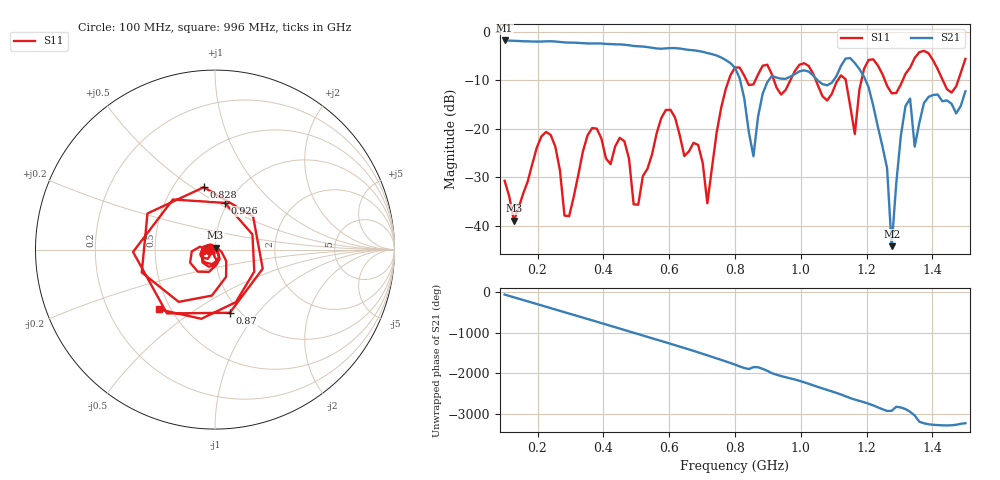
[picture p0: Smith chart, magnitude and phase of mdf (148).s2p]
! NanoVNA-App
! Date: 2025-09-25 15:39:34
! Start: 100MHz Stop: 1,5GHz Points: 101
! S-Parameter data: F S11 S21 S12 S22
# Hz S RI R 50
!  Frequency  S11_Real  S11_Imag  S21_Real  S21_Imag  S12_Real  S12_Imag  S22_Real  S22_Imag
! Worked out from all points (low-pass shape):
!   101 points, 100 MHz to 1.5 GHz, reference 50 ohm
!   highest |S21| = -1.80 dB at 100 MHz (marker M1); lowest = -44.3 dB at 1.276 GHz (marker M2)
!   |S21| within 3 dB of the highest: start of sweep to 738.9 MHz
!   lowest |S11| = -39.0 dB at 128 MHz (marker M3), VSWR 1.02, Z = 50.3 + j1.08 ohm
!   |S11| at or under -10 dB: start of sweep to 781 MHz; 918.3 MHz to 968.3 MHz (49.94 MHz wide, 5.29 % of centre); 1.045 GHz to 1.112 GHz (67.02 MHz wide, 6.21 % of centre) (the widest 3 of 7)
!   S12 and S22 are empty: the file has one direction only
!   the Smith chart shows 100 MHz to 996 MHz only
!   S11 on the Smith chart (normalised r, x): 100 MHz: 0.94, -0.01; 828 MHz: 0.70, +0.56; 870 MHz: 0.90, -0.73; 926 MHz: 0.97, +0.54; 996 MHz: 0.43, -0.36
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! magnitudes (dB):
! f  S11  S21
! 100 MHz  -30.8  -1.8
! 128 MHz  -39.0  -1.9
! 212 MHz  -21.6  -2.0
! 282 MHz  -37.9  -2.2
! 338 MHz  -24.7  -2.4
! 464 MHz  -22.6  -2.7
! 506 MHz  -35.7  -3.0
! 576 MHz  -17.8  -3.5
! 716 MHz  -35.4  -4.4
! 800 MHz  -7.4  -7.5
! 828 MHz  -9.0  -13.7
! 856 MHz  -10.9  -25.7
! 870 MHz  -8.8  -17.6
! 926 MHz  -11.5  -9.5
! 996 MHz  -6.8  -8.2
! 1.038 GHz  -8.8  -9.1
! 1.164 GHz  -21.1  -6.5
! 1.192 GHz  -7.7  -9.3
! 1.262 GHz  -11.2  -28.1
! 1.276 GHz  -12.7  -44.3
! 1.318 GHz  -8.7  -15.3
! 1.5 GHz  -5.6  -12.3
